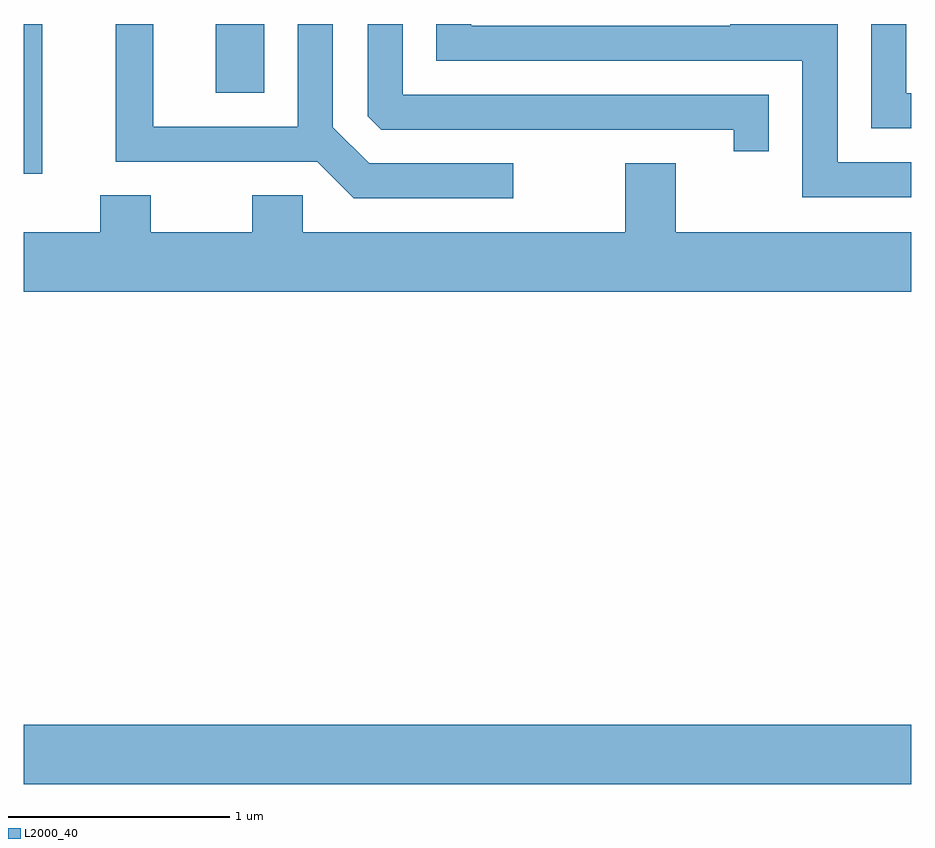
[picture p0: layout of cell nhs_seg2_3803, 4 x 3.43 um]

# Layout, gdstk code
import gdstk
lib = gdstk.Library(unit=1e-6, precision=1e-09)
def R(c, l, rs):  # rectangles x0, y0, x1, y1
    for r in rs: c.add(gdstk.rectangle(r[:2], r[2:], *l))
def P(c, l, *ps):  # polygons
    for p in ps: c.add(gdstk.Polygon(p, *l))
L2000_40 = (2000, 40)

nhs_seg2_3803 = lib.new_cell('nhs_seg2_3803')
R(nhs_seg2_3803, L2000_40, [(297.611,988.376,301.611,988.644), (297.611,991.126,297.694,991.802), (298.476,991.491,298.694,991.802)])
P(nhs_seg2_3803, L2000_40, [(301.611,991.179),(301.279,991.179),(301.279,991.802),(300.795,991.802),(300.795,991.794),(299.629,991.794),(299.629,991.802),(299.471,991.802),(299.471,991.636),(301.121,991.636),(301.121,991.021),(301.611,991.021)],
  [(299.818,991.174),(299.167,991.174),(299.004,991.337),(299.004,991.802),(298.846,991.802),(298.846,991.339),(298.194,991.339),(298.194,991.802),(298.026,991.802),(298.026,991.181),(298.934,991.181),(299.099,991.016),(299.818,991.016)],
  [(301.611,991.489),(301.589,991.489),(301.589,991.802),(301.431,991.802),(301.431,991.331),(301.611,991.331)],
  [(300.969,991.484),(299.319,991.484),(299.319,991.802),(299.161,991.802),(299.161,991.387),(299.222,991.326),(300.811,991.326),(300.811,991.228),(300.969,991.228)],
  [(301.611,990.864),(300.549,990.864),(300.549,991.174),(300.321,991.174),(300.321,990.864),(298.869,990.864),(298.869,991.029),(298.641,991.029),(298.641,990.864),(298.184,990.864),(298.184,991.029),(297.956,991.029),(297.956,990.864),(297.611,990.864),(297.611,990.596),(301.611,990.596)])

lib.write_gds('nhs_seg2_3803.gds')
